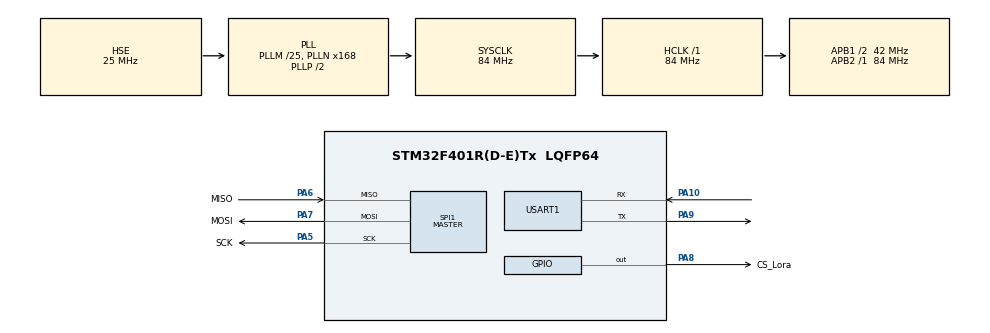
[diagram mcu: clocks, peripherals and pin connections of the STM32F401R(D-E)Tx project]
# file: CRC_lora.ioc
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Mcu.Family=STM32F4
Mcu.Name=STM32F401R(D-E)Tx
Mcu.Package=LQFP64
NVIC.PriorityGroup=NVIC_PRIORITYGROUP_4
PA10.Mode=Asynchronous
PA10.Signal=USART1_RX
PA13.Mode=Serial_Wire
PA13.Signal=SYS_JTMS-SWDIO
PA14.Mode=Serial_Wire
PA14.Signal=SYS_JTCK-SWCLK
PA5.GPIO_Label=SCK
PA5.Mode=Full_Duplex_Master
PA5.Signal=SPI1_SCK
PA6.GPIO_Label=MISO
PA6.Mode=Full_Duplex_Master
PA6.Signal=SPI1_MISO
PA7.GPIO_Label=MOSI
PA7.Mode=Full_Duplex_Master
PA7.Signal=SPI1_MOSI
PA8.GPIO_Label=CS_Lora
PA8.PinState=GPIO_PIN_SET
PA8.Signal=GPIO_Output
PA9.Mode=Asynchronous
PA9.Signal=USART1_TX
PH0\ -\ OSC_IN.Mode=HSE-External-Oscillator
PH0\ -\ OSC_IN.Signal=RCC_OSC_IN
PH1\ -\ OSC_OUT.Mode=HSE-External-Oscillator
PH1\ -\ OSC_OUT.Signal=RCC_OSC_OUT
ProjectManager.HeapSize=0x200
ProjectManager.StackSize=0x400
ProjectManager.TargetToolchain=STM32CubeIDE
RCC.48MHZClocksFreq_Value=42000000
RCC.AHBFreq_Value=84000000
RCC.APB1CLKDivider=RCC_HCLK_DIV2
RCC.APB1Freq_Value=42000000
RCC.APB1TimFreq_Value=84000000
RCC.APB2Freq_Value=84000000
RCC.APB2TimFreq_Value=84000000
RCC.CortexFreq_Value=84000000
RCC.HCLKFreq_Value=84000000
RCC.HSE_VALUE=25000000
RCC.HSI_VALUE=16000000
RCC.LSE_VALUE=32768
RCC.PLLM=25
RCC.PLLN=168
RCC.PLLSourceVirtual=RCC_PLLSOURCE_HSE
RCC.SYSCLKFreq_VALUE=84000000
RCC.SYSCLKSource=RCC_SYSCLKSOURCE_PLLCLK
RCC.VCOOutputFreq_Value=168000000
SPI1.BaudRatePrescaler=SPI_BAUDRATEPRESCALER_8
SPI1.Direction=SPI_DIRECTION_2LINES
SPI1.Mode=SPI_MODE_MASTER
SPI1.VirtualType=VM_MASTER
USART1.VirtualMode=VM_ASYNC
board=custom

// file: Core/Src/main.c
/* USER CODE BEGIN Header */
/**
  ******************************************************************************
  * @file           : main.c
  * @brief          : Main program body
  ******************************************************************************
  * @attention
  *
  * Copyright (c) 2026 STMicroelectronics.
  * All rights reserved.
  *
  * This software is licensed under terms that can be found in the LICENSE file
  * in the root directory of this software component.
  * If no LICENSE file comes with this software, it is provided AS-IS.
  *
  ******************************************************************************
  */
/* USER CODE END Header */
#include "main.h"

/* USER CODE BEGIN Includes */
#include <stdlib.h>
#include "LoRa.h"
/* USER CODE END Includes */

SPI_HandleTypeDef hspi1;

UART_HandleTypeDef huart1;

/* USER CODE BEGIN PV */
LoRa myLoRa;
uint8_t read_data[128];
uint8_t send_data[128];
int			RSSI;
uint8_t bytesRecv = 0;
uint8_t isSend = 0;
/* USER CODE END PV */

void SystemClock_Config(void);
static void MX_GPIO_Init(void);
static void MX_SPI1_Init(void);
static void MX_USART1_UART_Init(void);

int main(void)
{

  /* MCU Configuration--------------------------------------------------------*/

  /* Reset of all peripherals, Initializes the Flash interface and the Systick. */
  HAL_Init();

  /* Configure the system clock */
  SystemClock_Config();

  /* Initialize all configured peripherals */
  MX_GPIO_Init();
  MX_SPI1_Init();
  MX_USART1_UART_Init();
  /* USER CODE BEGIN 2 */
  // MODULE SETTINGS ----------------------------------------------
  	myLoRa = newLoRa();

  	myLoRa.hSPIx                 = &hspi1;
  	myLoRa.CS_port               = CS_Lora_GPIO_Port;
  	myLoRa.CS_pin                = CS_Lora_Pin;

  	myLoRa.frequency             = 433;							  // default = 433 MHz
  	myLoRa.spredingFactor        = SF_7;							// default = SF_7
  	myLoRa.bandWidth			       = BW_500KHz;				  // default = BW_125KHz
  	myLoRa.crcRate				       = CR_4_5;						// default = CR_4_5
  	myLoRa.power					       = POWER_20db;				// default = 20db
  	myLoRa.overCurrentProtection = 120; 							// default = 100 mA
  	myLoRa.preamble				       = 10;		  					// default = 8;

  	LoRa_reset(&myLoRa);
  	LoRa_init(&myLoRa);

  	// START CONTINUOUS RECEIVING -----------------------------------
  	LoRa_startReceiving(&myLoRa);
  	//send_data[0] = 0;
  	//---------------------------------------------------------------
  	HAL_UART_Transmit(&huart1, "Hello world1!", 12, HAL_MAX_DELAY);
  /* USER CODE END 2 */

  /* Infinite loop */
  /* USER CODE BEGIN WHILE */
  while (1)
  {
	  bytesRecv = LoRa_receive(&myLoRa, read_data, 128);
	  HAL_UART_Transmit(&huart1, read_data, bytesRecv, 100);
	  // SENDING DATA - - - - - - - - - - - - - - - - - - - - - - - - -
	  //send_data[1] = (send_data[1] + 1)%60;
	  //isSend = LoRa_transmit(&myLoRa, send_data, 1, 500) + 48;
	  //if(send_data[1] == 0){
		  //HAL_UART_Transmit(&huart1, send_data, 1, 100);
		  //send_data[0] = (send_data[0] + 1)%3+6;
	  //}
	  /*for(int i=0; i<26; i++)
		  send_data[i+1] = 48+i;*/
	  /*if(send_data[0] == 8){
		  isSend = LoRa_transmit(&myLoRa, send_data, 1, 500) + 48;
	  }*/
	  /*HAL_UART_Transmit(&huart1, &isSend, 1, 100);*/

	  uint8_t read_data[16];
	  read_data[0] = 7;
	  if(HAL_UART_Receive(&huart1, read_data, bytesRecv, 100) == HAL_OK){
		  LoRa_transmit(&myLoRa, read_data, 1, 500);
	  }
	  //LoRa_transmit(&myLoRa, read_data, 1, 500);
	  HAL_Delay(10);

	  // RECEIVING DATA - - - - - - - - - - - - - - - - - - - - - - - -
	  //HAL_UART_Transmit(&huart1, &var, 1, 100);
    /* USER CODE END WHILE */

  }
}

void SystemClock_Config(void)
{
  RCC_OscInitTypeDef RCC_OscInitStruct = {0};
  RCC_ClkInitTypeDef RCC_ClkInitStruct = {0};

  /** Configure the main internal regulator output voltage
  */
  __HAL_RCC_PWR_CLK_ENABLE();
  __HAL_PWR_VOLTAGESCALING_CONFIG(PWR_REGULATOR_VOLTAGE_SCALE2);

  /** Initializes the RCC Oscillators according to the specified parameters
  * in the RCC_OscInitTypeDef structure.
  */
  RCC_OscInitStruct.OscillatorType = RCC_OSCILLATORTYPE_HSE;
  RCC_OscInitStruct.HSEState = RCC_HSE_ON;
  RCC_OscInitStruct.PLL.PLLState = RCC_PLL_ON;
  RCC_OscInitStruct.PLL.PLLSource = RCC_PLLSOURCE_HSE;
  RCC_OscInitStruct.PLL.PLLM = 25;
  RCC_OscInitStruct.PLL.PLLN = 168;
  RCC_OscInitStruct.PLL.PLLP = RCC_PLLP_DIV2;
  RCC_OscInitStruct.PLL.PLLQ = 4;
  if (HAL_RCC_OscConfig(&RCC_OscInitStruct) != HAL_OK)
  {
    Error_Handler();
  }

  /** Initializes the CPU, AHB and APB buses clocks
  */
  RCC_ClkInitStruct.ClockType = RCC_CLOCKTYPE_HCLK|RCC_CLOCKTYPE_SYSCLK
                              |RCC_CLOCKTYPE_PCLK1|RCC_CLOCKTYPE_PCLK2;
  RCC_ClkInitStruct.SYSCLKSource = RCC_SYSCLKSOURCE_PLLCLK;
  RCC_ClkInitStruct.AHBCLKDivider = RCC_SYSCLK_DIV1;
  RCC_ClkInitStruct.APB1CLKDivider = RCC_HCLK_DIV2;
  RCC_ClkInitStruct.APB2CLKDivider = RCC_HCLK_DIV1;

  if (HAL_RCC_ClockConfig(&RCC_ClkInitStruct, FLASH_LATENCY_2) != HAL_OK)
  {
    Error_Handler();
  }
}

static void MX_SPI1_Init(void)
{

  /* SPI1 parameter configuration*/
  hspi1.Instance = SPI1;
  hspi1.Init.Mode = SPI_MODE_MASTER;
  hspi1.Init.Direction = SPI_DIRECTION_2LINES;
  hspi1.Init.DataSize = SPI_DATASIZE_8BIT;
  hspi1.Init.CLKPolarity = SPI_POLARITY_LOW;
  hspi1.Init.CLKPhase = SPI_PHASE_1EDGE;
  hspi1.Init.NSS = SPI_NSS_SOFT;
  hspi1.Init.BaudRatePrescaler = SPI_BAUDRATEPRESCALER_8;
  hspi1.Init.FirstBit = SPI_FIRSTBIT_MSB;
  hspi1.Init.TIMode = SPI_TIMODE_DISABLE;
  hspi1.Init.CRCCalculation = SPI_CRCCALCULATION_DISABLE;
  hspi1.Init.CRCPolynomial = 10;
  if (HAL_SPI_Init(&hspi1) != HAL_OK)
  {
    Error_Handler();
  }

}

static void MX_USART1_UART_Init(void)
{

  huart1.Instance = USART1;
  huart1.Init.BaudRate = 115200;
  huart1.Init.WordLength = UART_WORDLENGTH_8B;
  huart1.Init.StopBits = UART_STOPBITS_1;
  huart1.Init.Parity = UART_PARITY_NONE;
  huart1.Init.Mode = UART_MODE_TX_RX;
  huart1.Init.HwFlowCtl = UART_HWCONTROL_NONE;
  huart1.Init.OverSampling = UART_OVERSAMPLING_16;
  if (HAL_UART_Init(&huart1) != HAL_OK)
  {
    Error_Handler();
  }

}

static void MX_GPIO_Init(void)
{
  GPIO_InitTypeDef GPIO_InitStruct = {0};

  /* GPIO Ports Clock Enable */
  __HAL_RCC_GPIOH_CLK_ENABLE();
  __HAL_RCC_GPIOA_CLK_ENABLE();

  /*Configure GPIO pin Output Level */
  HAL_GPIO_WritePin(CS_Lora_GPIO_Port, CS_Lora_Pin, GPIO_PIN_SET);

  /*Configure GPIO pin : CS_Lora_Pin */
  GPIO_InitStruct.Pin = CS_Lora_Pin;
  GPIO_InitStruct.Mode = GPIO_MODE_OUTPUT_PP;
  GPIO_InitStruct.Pull = GPIO_NOPULL;
  GPIO_InitStruct.Speed = GPIO_SPEED_FREQ_LOW;
  HAL_GPIO_Init(CS_Lora_GPIO_Port, &GPIO_InitStruct);

}

void Error_Handler(void)
{
  __disable_irq();
  while (1)
  {
  }
}
